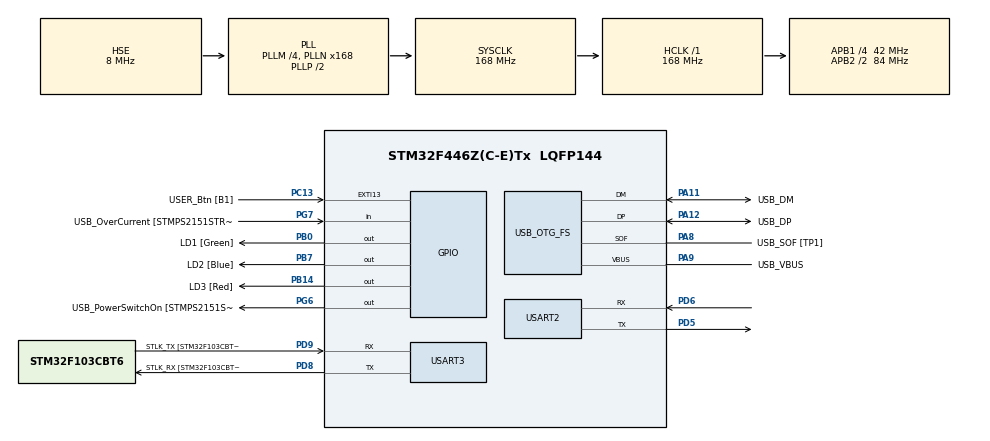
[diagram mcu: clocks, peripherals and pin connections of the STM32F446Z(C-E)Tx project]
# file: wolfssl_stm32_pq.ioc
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Dma.Request0=USART2_RX
Dma.Request1=USART3_RX
Dma.USART2_RX.0.Direction=DMA_PERIPH_TO_MEMORY
Dma.USART2_RX.0.FIFOMode=DMA_FIFOMODE_DISABLE
Dma.USART2_RX.0.Instance=DMA1_Stream5
Dma.USART2_RX.0.MemDataAlignment=DMA_MDATAALIGN_BYTE
Dma.USART2_RX.0.MemInc=DMA_MINC_ENABLE
Dma.USART2_RX.0.Mode=DMA_NORMAL
Dma.USART2_RX.0.PeriphDataAlignment=DMA_PDATAALIGN_BYTE
Dma.USART2_RX.0.PeriphInc=DMA_PINC_DISABLE
Dma.USART2_RX.0.Priority=DMA_PRIORITY_LOW
Dma.USART3_RX.1.Direction=DMA_PERIPH_TO_MEMORY
Dma.USART3_RX.1.FIFOMode=DMA_FIFOMODE_DISABLE
Dma.USART3_RX.1.Instance=DMA1_Stream1
Dma.USART3_RX.1.MemDataAlignment=DMA_MDATAALIGN_BYTE
Dma.USART3_RX.1.MemInc=DMA_MINC_ENABLE
Dma.USART3_RX.1.Mode=DMA_NORMAL
Dma.USART3_RX.1.PeriphDataAlignment=DMA_PDATAALIGN_BYTE
Dma.USART3_RX.1.PeriphInc=DMA_PINC_DISABLE
Dma.USART3_RX.1.Priority=DMA_PRIORITY_LOW
Mcu.Family=STM32F4
Mcu.Name=STM32F446Z(C-E)Tx
Mcu.Package=LQFP144
NVIC.DMA1_Stream1_IRQn=true\:0\:0\:false\:false\:true\:false\:true\:true
NVIC.DMA1_Stream5_IRQn=true\:0\:0\:false\:false\:true\:false\:true\:true
NVIC.PriorityGroup=NVIC_PRIORITYGROUP_4
NVIC.USART2_IRQn=true\:0\:0\:false\:false\:true\:true\:true\:true
NVIC.USART3_IRQn=true\:0\:0\:false\:false\:true\:true\:true\:true
PA10.GPIO_Label=USB_ID
PA10.Signal=USB_OTG_FS_ID
PA11.GPIO_Label=USB_DM
PA11.Mode=Device_Only
PA11.Signal=USB_OTG_FS_DM
PA12.GPIO_Label=USB_DP
PA12.Mode=Device_Only
PA12.Signal=USB_OTG_FS_DP
PA13.GPIO_Label=TMS
PA13.Mode=Serial_Wire
PA13.Signal=SYS_JTMS-SWDIO
PA14.GPIO_Label=TCK
PA14.Mode=Serial_Wire
PA14.Signal=SYS_JTCK-SWCLK
PA8.GPIO_Label=USB_SOF [TP1]
PA8.Mode=Activate_SOF_FS
PA8.Signal=USB_OTG_FS_SOF
PA9.GPIO_Label=USB_VBUS
PA9.Mode=Activate_VBUS
PA9.Signal=USB_OTG_FS_VBUS
PB0.GPIO_Label=LD1 [Green]
PB0.Signal=GPIO_Output
PB14.GPIO_Label=LD3 [Red]
PB14.Signal=GPIO_Output
PB7.GPIO_Label=LD2 [Blue]
PB7.Signal=GPIO_Output
PC13.GPIO_Label=USER_Btn [B1]
PC13.Signal=GPXTI13
PC14-OSC32_IN.Mode=LSE-External-Oscillator
PC14-OSC32_IN.Signal=RCC_OSC32_IN
PC15-OSC32_OUT.Mode=LSE-External-Oscillator
PC15-OSC32_OUT.Signal=RCC_OSC32_OUT
PD5.Mode=Asynchronous
PD5.Signal=USART2_TX
PD6.Mode=Asynchronous
PD6.Signal=USART2_RX
PD8.GPIO_Label=STLK_RX [STM32F103CBT6_PA3]
PD8.Mode=Asynchronous
PD8.Signal=USART3_TX
PD9.GPIO_Label=STLK_TX [STM32F103CBT6_PA2]
PD9.Mode=Asynchronous
PD9.Signal=USART3_RX
PG6.GPIO_Label=USB_PowerSwitchOn [STMPS2151STR_EN]
PG6.Signal=GPIO_Output
PG7.GPIO_Label=USB_OverCurrent [STMPS2151STR_FAULT]
PG7.Signal=GPIO_Input
PH0-OSC_IN.GPIO_Label=MCO [STM32F103CBT6_PA8]
PH0-OSC_IN.Mode=HSE-External-Clock-Source
PH0-OSC_IN.Signal=RCC_OSC_IN
PH1-OSC_OUT.Mode=HSE-External-Clock-Source
PH1-OSC_OUT.Signal=RCC_OSC_OUT
ProjectManager.HeapSize=0x200
ProjectManager.StackSize=0x400
ProjectManager.TargetToolchain=STM32CubeIDE
RCC.48MHZClocksFreq_Value=24000000
RCC.AHBFreq_Value=168000000
RCC.APB1CLKDivider=RCC_HCLK_DIV4
RCC.APB1Freq_Value=42000000
RCC.APB1TimFreq_Value=84000000
RCC.APB2CLKDivider=RCC_HCLK_DIV2
RCC.APB2Freq_Value=84000000
RCC.APB2TimFreq_Value=168000000
RCC.CortexFreq_Value=168000000
RCC.HCLKFreq_Value=168000000
RCC.HSE_VALUE=8000000
RCC.HSI_VALUE=16000000
RCC.PLLM=4
RCC.PLLMUL=RCC_PLL_MUL9
RCC.PLLN=168
RCC.PLLQ=7
RCC.PRESCALERUSB=RCC_USBCLKSOURCE_PLL_DIV1_5
RCC.SYSCLKFreq_VALUE=168000000
RCC.SYSCLKSource=RCC_SYSCLKSOURCE_PLLCLK
RCC.SYSCLKSourceVirtual=RCC_SYSCLKSOURCE_PLLCLK
RCC.USBFreq_Value=48000000
RCC.VCOOutputFreq_Value=336000000
USART2.VirtualMode=VM_ASYNC
USART3.VirtualMode=VM_ASYNC
USB_OTG_FS.VirtualMode=Device_Only
VP_RTC_VS_RTC_Activate.Mode=RTC_Enabled
VP_wolfSSL.I-CUBE-wolfSSL_VS_wolfSSLJjwolfSSL_5.5.3_5.5.3.Mode=wolfSSLJjwolfSSL
board=NUCLEO-F446ZE
wolfSSL.I-CUBE-wolfSSL.5.5.3.WOLF_CONF_MATH=1
wolfSSL.I-CUBE-wolfSSL.5.5.3.WOLF_CONF_PQM4=0
wolfSSL.I-CUBE-wolfSSL.5.5.3.wolfSSLCcwolfSSLJjwolfCryptJjCore=true
wolfSSL.I-CUBE-wolfSSL.5.5.3.wolfSSLCcwolfSSLJjwolfCryptJjTest=true
wolfSSL.I-CUBE-wolfSSL.5.5.3.wolfSSLCcwolfSSLJjwolfSSLJjCore=true

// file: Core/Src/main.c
/* USER CODE BEGIN Header */
/**
  ******************************************************************************
  * @file           : main.c
  * @brief          : Main program body
  ******************************************************************************
  * @attention
  *
  * <h2><center>&copy; Copyright (c) 2022 STMicroelectronics.
  * All rights reserved.</center></h2>
  *
  * This software component is licensed by ST under BSD 3-Clause license,
  * the "License"; You may not use this file except in compliance with the
  * License. You may obtain a copy of the License at:
  *                        opensource.org/licenses/BSD-3-Clause
  *
  ******************************************************************************
  */
/* USER CODE END Header */
#include "main.h"

RTC_HandleTypeDef hrtc;

UART_HandleTypeDef huart2;
UART_HandleTypeDef huart3;
DMA_HandleTypeDef hdma_usart2_rx;
DMA_HandleTypeDef hdma_usart3_rx;

PCD_HandleTypeDef hpcd_USB_OTG_FS;

/* USER CODE BEGIN PV */
/* Retargets the C library printf function to the USART. */
#include <stdio.h>
#include <wolfssl/wolfcrypt/settings.h>
#ifdef __GNUC__
int __io_putchar(int ch)
#else
int fputc(int ch, FILE *f)
#endif
{
    HAL_UART_Transmit(&HAL_CONSOLE_UART, (uint8_t *)&ch, 1, 0xFFFF);

    return ch;
}
#ifdef __GNUC__
int _write(int file,char *ptr, int len)
{
    int DataIdx;
    for (DataIdx= 0; DataIdx< len; DataIdx++) {
        __io_putchar(*ptr++);
    }
    return len;
}
#endif
/* USER CODE END PV */

void SystemClock_Config(void);
static void MX_GPIO_Init(void);
static void MX_DMA_Init(void);
static void MX_USART3_UART_Init(void);
static void MX_USART2_UART_Init(void);
static void MX_USB_OTG_FS_PCD_Init(void);
static void MX_RTC_Init(void);
/* USER CODE BEGIN PFP */
extern void wolfCryptDemo(void *argument);
/* USER CODE END PFP */

int main(void)
{

  /* MCU Configuration--------------------------------------------------------*/

  /* Reset of all peripherals, Initializes the Flash interface and the Systick. */
  HAL_Init();

  /* USER CODE BEGIN Init */
  /* Turn off buffers, so I/O occurs immediately */
  setvbuf(stdin, NULL, _IONBF, 0);
  setvbuf(stdout, NULL, _IONBF, 0);
  setvbuf(stderr, NULL, _IONBF, 0);
  /* USER CODE END Init */

  /* Configure the system clock */
  SystemClock_Config();

  /* Initialize all configured peripherals */
  MX_GPIO_Init();
  MX_DMA_Init();
  MX_USART3_UART_Init();
  MX_USART2_UART_Init();
  MX_USB_OTG_FS_PCD_Init();
  MX_RTC_Init();
  /* USER CODE BEGIN 2 */

#ifdef WOLFSSL_DEMO
  wolfCryptDemo(NULL);
#elif WOLFSSL_DEMO_EX
  wolfCryptDemo_ex(NULL);
#endif

  /* USER CODE END 2 */

  /* Infinite loop */
  /* USER CODE BEGIN WHILE */
  while (1)
  {
	  printf("hellow\n");
    /* USER CODE END WHILE */

  }
}

void SystemClock_Config(void)
{
  RCC_OscInitTypeDef RCC_OscInitStruct = {0};
  RCC_ClkInitTypeDef RCC_ClkInitStruct = {0};

  /** Configure the main internal regulator output voltage
  */
  __HAL_RCC_PWR_CLK_ENABLE();
  __HAL_PWR_VOLTAGESCALING_CONFIG(PWR_REGULATOR_VOLTAGE_SCALE1);
  /** Initializes the RCC Oscillators according to the specified parameters
  * in the RCC_OscInitTypeDef structure.
  */
  RCC_OscInitStruct.OscillatorType = RCC_OSCILLATORTYPE_LSI|RCC_OSCILLATORTYPE_HSE;
  RCC_OscInitStruct.HSEState = RCC_HSE_BYPASS;
  RCC_OscInitStruct.LSEState = RCC_LSE_ON;
  RCC_OscInitStruct.LSIState = RCC_LSI_ON;
  RCC_OscInitStruct.PLL.PLLState = RCC_PLL_ON;
  RCC_OscInitStruct.PLL.PLLSource = RCC_PLLSOURCE_HSE;
  RCC_OscInitStruct.PLL.PLLM = 4;
  RCC_OscInitStruct.PLL.PLLN = 168;
  RCC_OscInitStruct.PLL.PLLP = RCC_PLLP_DIV2;
  RCC_OscInitStruct.PLL.PLLQ = 7;
  RCC_OscInitStruct.PLL.PLLR = 2;
  if (HAL_RCC_OscConfig(&RCC_OscInitStruct) != HAL_OK)
  {
    Error_Handler();
  }
  /** Initializes the CPU, AHB and APB buses clocks
  */
  RCC_ClkInitStruct.ClockType = RCC_CLOCKTYPE_HCLK|RCC_CLOCKTYPE_SYSCLK
                              |RCC_CLOCKTYPE_PCLK1|RCC_CLOCKTYPE_PCLK2;
  RCC_ClkInitStruct.SYSCLKSource = RCC_SYSCLKSOURCE_PLLCLK;
  RCC_ClkInitStruct.AHBCLKDivider = RCC_SYSCLK_DIV1;
  RCC_ClkInitStruct.APB1CLKDivider = RCC_HCLK_DIV4;
  RCC_ClkInitStruct.APB2CLKDivider = RCC_HCLK_DIV2;

  if (HAL_RCC_ClockConfig(&RCC_ClkInitStruct, FLASH_LATENCY_5) != HAL_OK)
  {
    Error_Handler();
  }
}

static void MX_RTC_Init(void)
{

  /** Initialize RTC Only
  */
  hrtc.Instance = RTC;
  hrtc.Init.HourFormat = RTC_HOURFORMAT_24;
  hrtc.Init.AsynchPrediv = 127;
  hrtc.Init.SynchPrediv = 255;
  hrtc.Init.OutPut = RTC_OUTPUT_DISABLE;
  hrtc.Init.OutPutPolarity = RTC_OUTPUT_POLARITY_HIGH;
  hrtc.Init.OutPutType = RTC_OUTPUT_TYPE_OPENDRAIN;
  if (HAL_RTC_Init(&hrtc) != HAL_OK)
  {
    Error_Handler();
  }

}

static void MX_USART2_UART_Init(void)
{

  huart2.Instance = USART2;
  huart2.Init.BaudRate = 115200;
  huart2.Init.WordLength = UART_WORDLENGTH_8B;
  huart2.Init.StopBits = UART_STOPBITS_1;
  huart2.Init.Parity = UART_PARITY_NONE;
  huart2.Init.Mode = UART_MODE_TX_RX;
  huart2.Init.HwFlowCtl = UART_HWCONTROL_NONE;
  huart2.Init.OverSampling = UART_OVERSAMPLING_16;
  if (HAL_UART_Init(&huart2) != HAL_OK)
  {
    Error_Handler();
  }

}

static void MX_USART3_UART_Init(void)
{

  huart3.Instance = USART3;
  huart3.Init.BaudRate = 115200;
  huart3.Init.WordLength = UART_WORDLENGTH_8B;
  huart3.Init.StopBits = UART_STOPBITS_1;
  huart3.Init.Parity = UART_PARITY_NONE;
  huart3.Init.Mode = UART_MODE_TX_RX;
  huart3.Init.HwFlowCtl = UART_HWCONTROL_NONE;
  huart3.Init.OverSampling = UART_OVERSAMPLING_16;
  if (HAL_UART_Init(&huart3) != HAL_OK)
  {
    Error_Handler();
  }

}

static void MX_USB_OTG_FS_PCD_Init(void)
{

  hpcd_USB_OTG_FS.Instance = USB_OTG_FS;
  hpcd_USB_OTG_FS.Init.dev_endpoints = 6;
  hpcd_USB_OTG_FS.Init.speed = PCD_SPEED_FULL;
  hpcd_USB_OTG_FS.Init.dma_enable = DISABLE;
  hpcd_USB_OTG_FS.Init.phy_itface = PCD_PHY_EMBEDDED;
  hpcd_USB_OTG_FS.Init.Sof_enable = ENABLE;
  hpcd_USB_OTG_FS.Init.low_power_enable = DISABLE;
  hpcd_USB_OTG_FS.Init.lpm_enable = DISABLE;
  hpcd_USB_OTG_FS.Init.vbus_sensing_enable = ENABLE;
  hpcd_USB_OTG_FS.Init.use_dedicated_ep1 = DISABLE;
  if (HAL_PCD_Init(&hpcd_USB_OTG_FS) != HAL_OK)
  {
    Error_Handler();
  }

}

static void MX_DMA_Init(void)
{

  /* DMA controller clock enable */
  __HAL_RCC_DMA1_CLK_ENABLE();

  /* DMA interrupt init */
  /* DMA1_Stream1_IRQn interrupt configuration */
  HAL_NVIC_SetPriority(DMA1_Stream1_IRQn, 0, 0);
  HAL_NVIC_EnableIRQ(DMA1_Stream1_IRQn);
  /* DMA1_Stream5_IRQn interrupt configuration */
  HAL_NVIC_SetPriority(DMA1_Stream5_IRQn, 0, 0);
  HAL_NVIC_EnableIRQ(DMA1_Stream5_IRQn);

}

static void MX_GPIO_Init(void)
{
  GPIO_InitTypeDef GPIO_InitStruct = {0};

  /* GPIO Ports Clock Enable */
  __HAL_RCC_GPIOC_CLK_ENABLE();
  __HAL_RCC_GPIOH_CLK_ENABLE();
  __HAL_RCC_GPIOB_CLK_ENABLE();
  __HAL_RCC_GPIOD_CLK_ENABLE();
  __HAL_RCC_GPIOG_CLK_ENABLE();
  __HAL_RCC_GPIOA_CLK_ENABLE();

  /*Configure GPIO pin Output Level */
  HAL_GPIO_WritePin(GPIOB, LD1_Pin|LD3_Pin|LD2_Pin, GPIO_PIN_RESET);

  /*Configure GPIO pin Output Level */
  HAL_GPIO_WritePin(USB_PowerSwitchOn_GPIO_Port, USB_PowerSwitchOn_Pin, GPIO_PIN_RESET);

  /*Configure GPIO pin : USER_Btn_Pin */
  GPIO_InitStruct.Pin = USER_Btn_Pin;
  GPIO_InitStruct.Mode = GPIO_MODE_IT_RISING;
  GPIO_InitStruct.Pull = GPIO_NOPULL;
  HAL_GPIO_Init(USER_Btn_GPIO_Port, &GPIO_InitStruct);

  /*Configure GPIO pins : LD1_Pin LD3_Pin LD2_Pin */
  GPIO_InitStruct.Pin = LD1_Pin|LD3_Pin|LD2_Pin;
  GPIO_InitStruct.Mode = GPIO_MODE_OUTPUT_PP;
  GPIO_InitStruct.Pull = GPIO_NOPULL;
  GPIO_InitStruct.Speed = GPIO_SPEED_FREQ_LOW;
  HAL_GPIO_Init(GPIOB, &GPIO_InitStruct);

  /*Configure GPIO pin : USB_PowerSwitchOn_Pin */
  GPIO_InitStruct.Pin = USB_PowerSwitchOn_Pin;
  GPIO_InitStruct.Mode = GPIO_MODE_OUTPUT_PP;
  GPIO_InitStruct.Pull = GPIO_NOPULL;
  GPIO_InitStruct.Speed = GPIO_SPEED_FREQ_LOW;
  HAL_GPIO_Init(USB_PowerSwitchOn_GPIO_Port, &GPIO_InitStruct);

  /*Configure GPIO pin : USB_OverCurrent_Pin */
  GPIO_InitStruct.Pin = USB_OverCurrent_Pin;
  GPIO_InitStruct.Mode = GPIO_MODE_INPUT;
  GPIO_InitStruct.Pull = GPIO_NOPULL;
  HAL_GPIO_Init(USB_OverCurrent_GPIO_Port, &GPIO_InitStruct);

}

void Error_Handler(void)
{
  __disable_irq();
  while (1)
  {
  }
}

/************************ (C) COPYRIGHT STMicroelectronics *****END OF FILE****/
